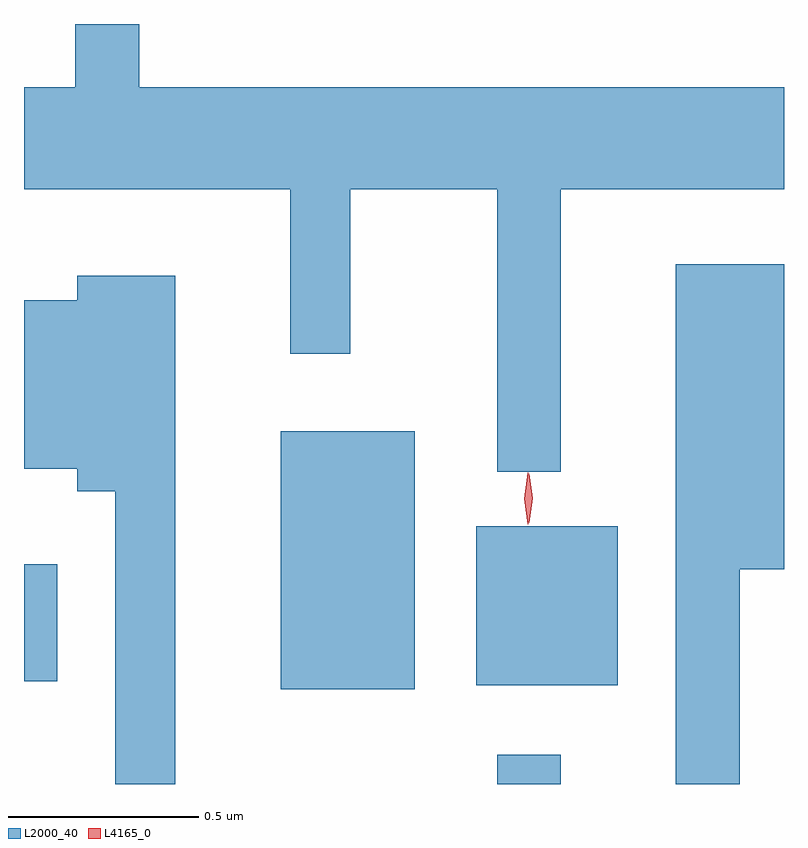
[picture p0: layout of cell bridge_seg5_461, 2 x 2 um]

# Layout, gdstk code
import gdstk
lib = gdstk.Library(unit=1e-6, precision=1e-09)
def R(c, l, rs):  # rectangles x0, y0, x1, y1
    for r in rs: c.add(gdstk.rectangle(r[:2], r[2:], *l))
def P(c, l, *ps):  # polygons
    for p in ps: c.add(gdstk.Polygon(p, *l))
L2000_40 = (2000, 40)
L4165_0 = (4165, 0)

bridge_seg5_461 = lib.new_cell('bridge_seg5_461')
R(bridge_seg5_461, L2000_40, [(313.771,1499.631,313.939,1499.708), (313.201,1499.881,313.554,1500.559), (313.716,1499.891,314.089,1500.309), (312.526,1499.901,312.614,1500.209)])
P(bridge_seg5_461, L2000_40, [(313.939,1501.196),(314.526,1501.196),(314.526,1501.464),(312.829,1501.464),(312.829,1501.631),(312.661,1501.631),(312.661,1501.464),(312.526,1501.464),(312.526,1501.196),(313.226,1501.196),(313.226,1500.763),(313.384,1500.763),(313.384,1501.196),(313.771,1501.196),(313.771,1500.453),(313.939,1500.453)],
  [(314.409,1500.196),(314.526,1500.196),(314.526,1500.999),(314.241,1500.999),(314.241,1499.631),(314.409,1499.631)],
  [(312.924,1500.969),(312.666,1500.969),(312.666,1500.904),(312.526,1500.904),(312.526,1500.461),(312.666,1500.461),(312.666,1500.401),(312.766,1500.401),(312.766,1499.631),(312.924,1499.631)])
P(bridge_seg5_461, L4165_0, [(313.852,1500.314),(313.843,1500.382),(313.852,1500.45),(313.853,1500.45),(313.853,1500.45),(313.863,1500.382),(313.853,1500.314),(313.853,1500.314)],
  [(313.855,1500.318),(313.855,1500.319),(313.845,1500.383),(313.855,1500.447),(313.855,1500.447),(313.856,1500.447),(313.865,1500.383),(313.856,1500.319)])

lib.write_gds('bridge_seg5_461.gds')
